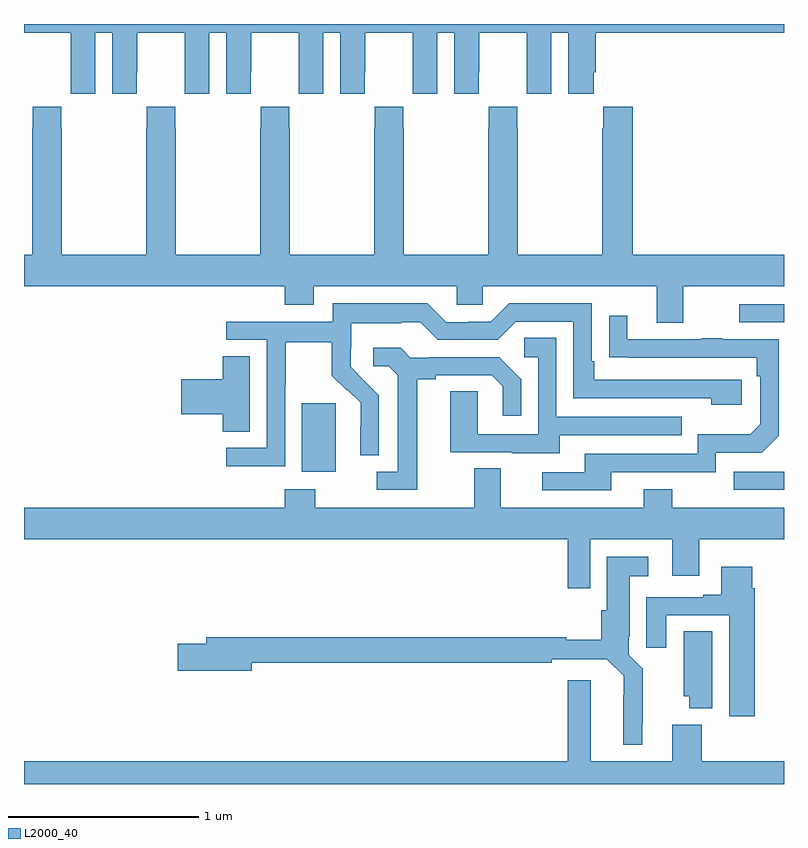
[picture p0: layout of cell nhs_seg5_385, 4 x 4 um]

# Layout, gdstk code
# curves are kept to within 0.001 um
import gdstk
lib = gdstk.Library(unit=1e-6, precision=1e-09)
def R(c, l, rs):  # rectangles x0, y0, x1, y1
    for r in rs: c.add(gdstk.rectangle(r[:2], r[2:], *l))
def P(c, l, *ps):  # polygons
    for p in ps: c.add(gdstk.Polygon(p, *l))
L2000_40 = (2000, 40)

nhs_seg5_385 = lib.new_cell('nhs_seg5_385')
R(nhs_seg5_385, L2000_40, [(138.735,862.347,139,862.443), (136.463,862.442,136.642,862.803), (138.765,863.229,139,863.325)])
P(nhs_seg5_385, L2000_40, [(136.664,864.432),(136.794,864.432),(136.794,864.544),(136.795,864.544),(136.795,864.752),(137.045,864.752),(137.045,864.544),(137.046,864.544),(137.046,864.432),(137.176,864.432),(137.176,864.752),(137.264,864.752),(137.264,864.432),(137.394,864.432),(137.394,864.544),(137.395,864.544),(137.395,864.752),(137.645,864.752),(137.645,864.544),(137.646,864.544),(137.646,864.432),(137.776,864.432),(137.776,864.752),(137.864,864.752),(137.864,864.432),(137.998,864.432),(137.998,864.544),(138.008,864.544),(138.008,864.752),(139,864.752),(139,864.799),(135,864.799),(135,864.752),(135.245,864.752),(135.245,864.544),(135.246,864.544),(135.246,864.432),(135.376,864.432),(135.376,864.752),(135.464,864.752),(135.464,864.432),(135.594,864.432),(135.594,864.544),(135.595,864.544),(135.595,864.752),(135.845,864.752),(135.845,864.544),(135.846,864.544),(135.846,864.432),(135.976,864.432),(135.976,864.752),(136.064,864.752),(136.064,864.432),(136.194,864.432),(136.194,864.544),(136.195,864.544),(136.195,864.752),(136.445,864.752),(136.445,864.544),(136.446,864.544),(136.446,864.432),(136.576,864.432),(136.576,864.752),(136.664,864.752)],
  [(138.469,863.42),(139,863.42),(139,863.584),(138.203,863.584),(138.203,864.364),(138.049,864.364),(138.049,864.251),(138.043,864.251),(138.043,863.584),(137.598,863.584),(137.598,864.251),(137.595,864.251),(137.595,864.364),(137.445,864.364),(137.445,864.251),(137.443,864.251),(137.443,863.584),(136.998,863.584),(136.998,864.251),(136.995,864.251),(136.995,864.364),(136.845,864.364),(136.845,864.251),(136.843,864.251),(136.843,863.584),(136.398,863.584),(136.398,864.251),(136.395,864.251),(136.395,864.364),(136.245,864.364),(136.245,864.251),(136.243,864.251),(136.243,863.584),(135.798,863.584),(135.798,864.251),(135.795,864.251),(135.795,864.364),(135.645,864.364),(135.645,864.251),(135.643,864.251),(135.643,863.584),(135.198,863.584),(135.198,864.251),(135.195,864.251),(135.195,864.364),(135.045,864.364),(135.045,864.251),(135.043,864.251),(135.043,863.584),(135,863.584),(135,863.42),(136.373,863.42),(136.373,863.321),(136.525,863.321),(136.525,863.42),(137.277,863.42),(137.277,863.322),(137.415,863.322),(137.415,863.42),(138.329,863.42),(138.329,863.226),(138.469,863.226)],
  [(136.374,862.9),(136.377,862.9),(136.377,863.124),(136.621,863.124),(136.621,862.949),(136.698,862.872),(136.701,862.875),(136.772,862.805),(136.772,862.682),(136.77,862.682),(136.77,862.528),(136.866,862.528),(136.866,862.846),(136.72,862.994),(136.72,863.091),(136.722,863.091),(136.722,863.225),(136.985,863.225),(136.985,863.229),(137.085,863.229),(137.178,863.136),(137.493,863.136),(137.589,863.232),(137.892,863.232),(137.892,862.83),(138.617,862.83),(138.617,862.796),(138.778,862.796),(138.778,862.926),(138.001,862.926),(138.001,863.023),(137.988,863.023),(137.988,863.328),(137.553,863.328),(137.457,863.232),(137.339,863.232),(137.339,863.229),(137.223,863.229),(137.123,863.329),(136.626,863.329),(136.626,863.232),(136.065,863.232),(136.065,863.136),(136.278,863.136),(136.278,862.569),(136.065,862.569),(136.065,862.471),(136.374,862.471)],
  [(138.091,862.44),(138.642,862.44),(138.642,862.542),(138.882,862.542),(138.972,862.632),(138.972,863.139),(138.677,863.139),(138.677,863.144),(138.565,863.144),(138.565,863.139),(138.175,863.139),(138.175,863.263),(138.079,863.263),(138.079,863.044),(138.856,863.043),(138.856,862.946),(138.876,862.946),(138.876,862.692),(138.823,862.639),(138.546,862.639),(138.546,862.536),(137.951,862.536),(137.951,862.44),(137.727,862.44),(137.727,862.344),(138.091,862.344)],
  [(137.821,862.635),(138.461,862.635),(138.461,862.731),(137.802,862.731),(137.802,863.147),(137.634,863.147),(137.634,863.046),(137.706,863.046),(137.706,862.641),(137.388,862.641),(137.388,862.865),(137.243,862.865),(137.243,862.545),(137.567,862.545),(137.567,862.541),(137.821,862.541)],
  [(137.071,862.928),(137.167,862.928),(137.167,862.95),(137.462,862.95),(137.519,862.893),(137.519,862.737),(137.616,862.737),(137.616,862.93),(137.5,863.046),(137.128,863.046),(137.128,863.043),(137.034,863.043),(136.982,863.095),(136.839,863.095),(136.839,862.998),(136.92,862.998),(136.967,862.951),(136.967,862.443),(136.857,862.443),(136.857,862.347),(137.071,862.347)],
  [(136.189,863.051),(136.046,863.051),(136.046,862.928),(135.828,862.928),(135.828,862.745),(136.046,862.745),(136.046,862.654),(136.189,862.654)],
  [(137.979,862.088),(138.413,862.088),(138.413,861.894),(138.553,861.894),(138.553,862.088),(139,862.088),(139,862.252),(138.411,862.252),(138.411,862.351),(138.263,862.351),(138.263,862.252),(137.509,862.252),(137.509,862.46),(137.369,862.46),(137.369,862.252),(136.533,862.252),(136.533,862.351),(136.373,862.351),(136.373,862.252),(135,862.252),(135,862.088),(137.863,862.088),(137.863,861.828),(137.979,861.828)],
  [(138.253,861.115),(138.257,861.115),(138.257,861.406),(138.183,861.48),(138.183,861.574),(138.187,861.574),(138.187,861.893),(138.286,861.893),(138.286,861.994),(138.068,861.994),(138.068,861.714),(138.038,861.714),(138.038,861.557),(137.854,861.557),(137.854,861.572),(135.959,861.572),(135.959,861.536),(135.81,861.536),(135.81,861.394),(136.198,861.394),(136.198,861.436),(137.777,861.436),(137.777,861.456),(138.068,861.456),(138.156,861.368),(138.155,861.005),(138.253,861.005)],
  [(138.845,861.83),(138.832,861.83),(138.832,861.943),(138.671,861.943),(138.671,861.796),(138.575,861.796),(138.575,861.783),(138.275,861.783),(138.275,861.516),(138.379,861.516),(138.379,861.687),(138.713,861.687),(138.713,861.156),(138.845,861.156)],
  [(138.622,861.602),(138.473,861.602),(138.473,861.261),(138.5,861.261),(138.5,861.197),(138.622,861.197)],
  [(139,860.92),(138.566,860.92),(138.566,861.112),(138.413,861.112),(138.413,860.92),(137.983,860.92),(137.983,861.346),(137.861,861.346),(137.861,860.92),(135,860.92),(135,860.799),(139,860.799)])

lib.write_gds('nhs_seg5_385.gds')
